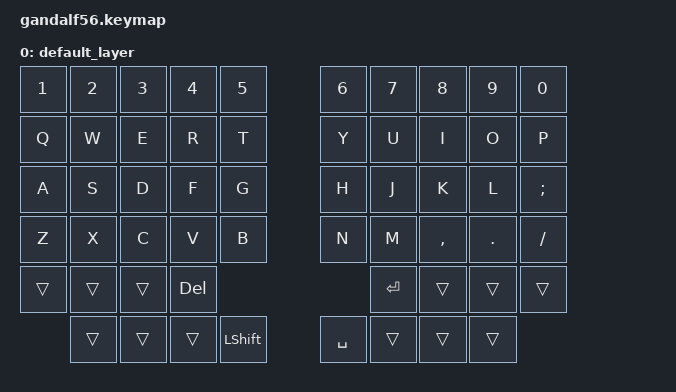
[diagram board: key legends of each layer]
/*
 * Copyright (c) 2022 The ZMK Contributors
 *
 * SPDX-License-Identifier: MIT
 */

#include <behaviors.dtsi>
#include <dt-bindings/zmk/keys.h>
#include <dt-bindings/zmk/backlight.h>
#include <dt-bindings/zmk/bt.h>
#include <dt-bindings/zmk/ext_power.h>
#include <dt-bindings/zmk/rgb.h>

// Uncomment the following lines if using the "Direct Wire" jumper to switch the matrix to a direct wire.

// / {
//     chosen {
//         zmk,physical-layout = &direct_physical_layout;
//     };
// };

/ {
    keymap {
        compatible = "zmk,keymap";

        default_layer {
            bindings = <
                &kp N1 &kp N2 &kp N3 &kp N4 &kp N5 &kp N6 &kp N7 &kp N8 &kp N9 &kp N0
                &kp Q &kp W &kp E &kp R &kp T      &kp Y &kp U &kp I &kp O &kp P
                &kp A &kp S &kp D &kp F &kp G      &kp H &kp J &kp K &kp L &kp SEMI
                &kp Z &kp X &kp C &kp V &kp B      &kp N &kp M &kp COMMA &kp DOT &kp FSLH
                &trans &trans &trans &kp DEL       &kp ENTER &trans &trans &trans
                &trans &trans &trans &kp LSHFT     &kp SPACE &trans &trans &trans
           >;

        //    sensor-bindings = <&inc_dec_kp C_VOL_UP C_VOL_DN>;
        };
    };
};
